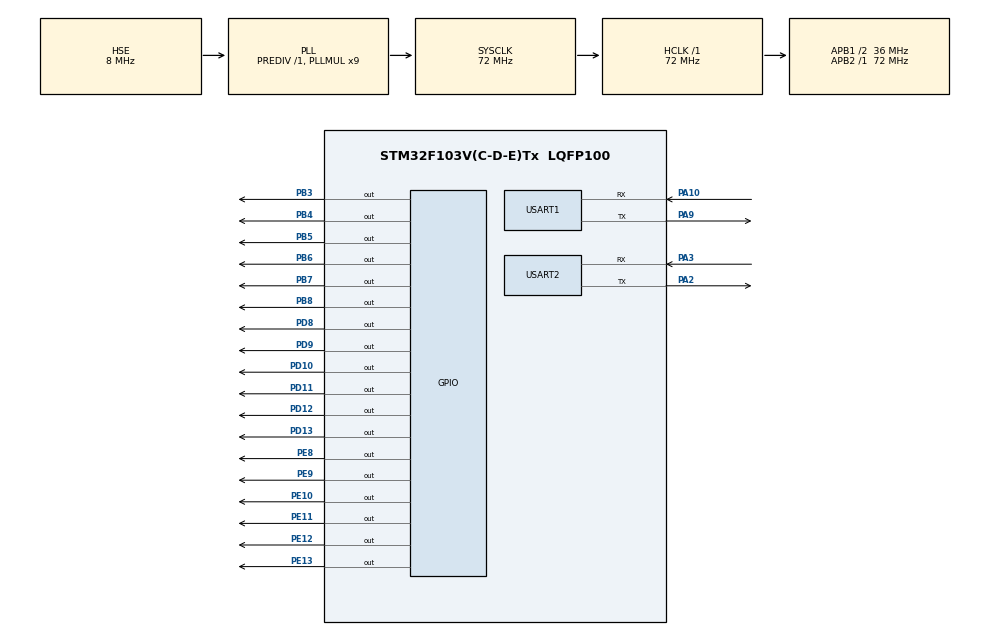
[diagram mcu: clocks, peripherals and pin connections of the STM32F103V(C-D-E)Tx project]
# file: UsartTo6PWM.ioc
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Mcu.Family=STM32F1
Mcu.Name=STM32F103V(C-D-E)Tx
Mcu.Package=LQFP100
NVIC.PriorityGroup=NVIC_PRIORITYGROUP_4
NVIC.USART1_IRQn=true\:0\:0\:false\:false\:true\:true
NVIC.USART2_IRQn=true\:0\:0\:false\:false\:true\:true
OSC_IN.Mode=HSE-External-Oscillator
OSC_IN.Signal=RCC_OSC_IN
OSC_OUT.Mode=HSE-External-Oscillator
OSC_OUT.Signal=RCC_OSC_OUT
PA10.Mode=Asynchronous
PA10.Signal=USART1_RX
PA13.Mode=Serial_Wire
PA13.Signal=SYS_JTMS-SWDIO
PA14.Mode=Serial_Wire
PA14.Signal=SYS_JTCK-SWCLK
PA2.Mode=Asynchronous
PA2.Signal=USART2_TX
PA3.Mode=Asynchronous
PA3.Signal=USART2_RX
PA9.Mode=Asynchronous
PA9.Signal=USART1_TX
PB3.GPIO_Speed=GPIO_SPEED_FREQ_HIGH
PB3.Signal=GPIO_Output
PB4.GPIO_Speed=GPIO_SPEED_FREQ_HIGH
PB4.Signal=GPIO_Output
PB5.GPIO_Speed=GPIO_SPEED_FREQ_HIGH
PB5.Signal=GPIO_Output
PB6.GPIO_Speed=GPIO_SPEED_FREQ_HIGH
PB6.Signal=GPIO_Output
PB7.GPIO_Speed=GPIO_SPEED_FREQ_HIGH
PB7.Signal=GPIO_Output
PB8.GPIO_Speed=GPIO_SPEED_FREQ_HIGH
PB8.Signal=GPIO_Output
PD10.GPIO_Speed=GPIO_SPEED_FREQ_HIGH
PD10.Signal=GPIO_Output
PD11.GPIO_Speed=GPIO_SPEED_FREQ_HIGH
PD11.Signal=GPIO_Output
PD12.GPIO_Speed=GPIO_SPEED_FREQ_HIGH
PD12.Signal=GPIO_Output
PD13.GPIO_Speed=GPIO_SPEED_FREQ_HIGH
PD13.Signal=GPIO_Output
PD8.GPIO_Speed=GPIO_SPEED_FREQ_HIGH
PD8.Signal=GPIO_Output
PD9.GPIO_Speed=GPIO_SPEED_FREQ_HIGH
PD9.Signal=GPIO_Output
PE10.GPIO_Speed=GPIO_SPEED_FREQ_HIGH
PE10.Signal=GPIO_Output
PE11.GPIO_Speed=GPIO_SPEED_FREQ_HIGH
PE11.Signal=GPIO_Output
PE12.GPIO_Speed=GPIO_SPEED_FREQ_HIGH
PE12.Signal=GPIO_Output
PE13.GPIO_Speed=GPIO_SPEED_FREQ_HIGH
PE13.Signal=GPIO_Output
PE8.GPIO_Speed=GPIO_SPEED_FREQ_HIGH
PE8.Signal=GPIO_Output
PE9.GPIO_Speed=GPIO_SPEED_FREQ_HIGH
PE9.Signal=GPIO_Output
ProjectManager.HeapSize=0x200
ProjectManager.StackSize=0x400
ProjectManager.TargetToolchain=SW4STM32
RCC.AHBFreq_Value=72000000
RCC.APB1CLKDivider=RCC_HCLK_DIV2
RCC.APB1Freq_Value=36000000
RCC.APB1TimFreq_Value=72000000
RCC.APB2Freq_Value=72000000
RCC.APB2TimFreq_Value=72000000
RCC.HCLKFreq_Value=72000000
RCC.PLLMUL=RCC_PLL_MUL9
RCC.PLLSourceVirtual=RCC_PLLSOURCE_HSE
RCC.SYSCLKFreq_VALUE=72000000
RCC.SYSCLKSource=RCC_SYSCLKSOURCE_PLLCLK
RCC.USBFreq_Value=72000000
USART1.VirtualMode=VM_ASYNC
USART2.VirtualMode=VM_ASYNC
board=UsartTo6PWM

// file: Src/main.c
/**
 ******************************************************************************
 * @file           : main.c
 * @brief          : Main program body
 ******************************************************************************
 ** This notice applies to any and all portions of this file
 * that are not between comment pairs USER CODE BEGIN and
 * USER CODE END. Other portions of this file, whether
 * inserted by the user or by software development tools
 * are owned by their respective copyright owners.
 *
 * COPYRIGHT(c) 2018 STMicroelectronics
 *
 * Redistribution and use in source and binary forms, with or without modification,
 * are permitted provided that the following conditions are met:
 *   1. Redistributions of source code must retain the above copyright notice,
 *      this list of conditions and the following disclaimer.
 *   2. Redistributions in binary form must reproduce the above copyright notice,
 *      this list of conditions and the following disclaimer in the documentation
 *      and/or other materials provided with the distribution.
 *   3. Neither the name of STMicroelectronics nor the names of its contributors
 *      may be used to endorse or promote products derived from this software
 *      without specific prior written permission.
 *
 * THIS SOFTWARE IS PROVIDED BY THE COPYRIGHT HOLDERS AND CONTRIBUTORS "AS IS"
 * AND ANY EXPRESS OR IMPLIED WARRANTIES, INCLUDING, BUT NOT LIMITED TO, THE
 * IMPLIED WARRANTIES OF MERCHANTABILITY AND FITNESS FOR A PARTICULAR PURPOSE ARE
 * DISCLAIMED. IN NO EVENT SHALL THE COPYRIGHT HOLDER OR CONTRIBUTORS BE LIABLE
 * FOR ANY DIRECT, INDIRECT, INCIDENTAL, SPECIAL, EXEMPLARY, OR CONSEQUENTIAL
 * DAMAGES (INCLUDING, BUT NOT LIMITED TO, PROCUREMENT OF SUBSTITUTE GOODS OR
 * SERVICES; LOSS OF USE, DATA, OR PROFITS; OR BUSINESS INTERRUPTION) HOWEVER
 * CAUSED AND ON ANY THEORY OF LIABILITY, WHETHER IN CONTRACT, STRICT LIABILITY,
 * OR TORT (INCLUDING NEGLIGENCE OR OTHERWISE) ARISING IN ANY WAY OUT OF THE USE
 * OF THIS SOFTWARE, EVEN IF ADVISED OF THE POSSIBILITY OF SUCH DAMAGE.
 *
 ******************************************************************************
 */
#include "main.h"
#include "stm32f1xx_hal.h"
#include "usart.h"
#include "gpio.h"

/* USER CODE BEGIN Includes */
#include <string.h>
/* USER CODE END Includes */

/* USER CODE BEGIN PV */
/* Private variables ---------------------------------------------------------*/
/* 定义6路GPIO模拟PWM输出 */
/* 顺序对应STM32_IO板QB1-QB18 */
//#define PWM1_DIR(x)  (x == 1 ? HAL_GPIO_WritePin(GPIOC, GPIO_PIN_6, GPIO_PIN_SET) : HAL_GPIO_WritePin(GPIOC, GPIO_PIN_6, GPIO_PIN_RESET))
//#define PWM1_EN(x)  (x == 1 ? HAL_GPIO_WritePin(GPIOD, GPIO_PIN_15, GPIO_PIN_SET) : HAL_GPIO_WritePin(GPIOD, GPIO_PIN_15, GPIO_PIN_RESET))
//#define PWM1_OUT(x)  (x == 1 ? HAL_GPIO_WritePin(GPIOD, GPIO_PIN_14, GPIO_PIN_RESET) : HAL_GPIO_WritePin(GPIOD, GPIO_PIN_14, GPIO_PIN_SET))
#define PWM1_DIR(x)  if(x == 1)HAL_GPIO_WritePin(GPIOC, GPIO_PIN_6, GPIO_PIN_SET) ; else HAL_GPIO_WritePin(GPIOC, GPIO_PIN_6, GPIO_PIN_RESET)
#define PWM1_EN(x)  if(x == 1)HAL_GPIO_WritePin(GPIOD, GPIO_PIN_15, GPIO_PIN_SET) ; else HAL_GPIO_WritePin(GPIOD, GPIO_PIN_15, GPIO_PIN_RESET)
#define PWM1_OUT(x)  if(x == 1)HAL_GPIO_WritePin(GPIOD, GPIO_PIN_14, GPIO_PIN_RESET) ; else HAL_GPIO_WritePin(GPIOD, GPIO_PIN_14, GPIO_PIN_SET)

//#define PWM2_DIR(x)  (x == 1 ? HAL_GPIO_WritePin(GPIOD, GPIO_PIN_13, GPIO_PIN_SET) : HAL_GPIO_WritePin(GPIOD, GPIO_PIN_13, GPIO_PIN_RESET))
//#define PWM2_EN(x)  (x == 1 ? HAL_GPIO_WritePin(GPIOD, GPIO_PIN_12, GPIO_PIN_SET) : HAL_GPIO_WritePin(GPIOD, GPIO_PIN_12, GPIO_PIN_RESET))
//#define PWM2_OUT(x)  (x == 1 ? HAL_GPIO_WritePin(GPIOD, GPIO_PIN_11, GPIO_PIN_RESET) : HAL_GPIO_WritePin(GPIOD, GPIO_PIN_11, GPIO_PIN_SET))

#define PWM2_DIR(x)  if(x == 1)HAL_GPIO_WritePin(GPIOD, GPIO_PIN_13, GPIO_PIN_SET) ; else HAL_GPIO_WritePin(GPIOD, GPIO_PIN_13, GPIO_PIN_RESET)
#define PWM2_EN(x)  if(x == 1)HAL_GPIO_WritePin(GPIOD, GPIO_PIN_12, GPIO_PIN_SET) ; else HAL_GPIO_WritePin(GPIOD, GPIO_PIN_12, GPIO_PIN_RESET)
#define PWM2_OUT(x)  if(x == 1)HAL_GPIO_WritePin(GPIOD, GPIO_PIN_11, GPIO_PIN_RESET) ; else HAL_GPIO_WritePin(GPIOD, GPIO_PIN_11, GPIO_PIN_SET)

//#define PWM3_DIR(x)  (x == 1 ? HAL_GPIO_WritePin(GPIOD, GPIO_PIN_10, GPIO_PIN_SET) : HAL_GPIO_WritePin(GPIOD, GPIO_PIN_10, GPIO_PIN_RESET))
//#define PWM3_EN(x)  (x == 1 ? HAL_GPIO_WritePin(GPIOD, GPIO_PIN_9, GPIO_PIN_SET) : HAL_GPIO_WritePin(GPIOD, GPIO_PIN_9, GPIO_PIN_RESET))
//#define PWM3_OUT(x)  (x == 1 ? HAL_GPIO_WritePin(GPIOD, GPIO_PIN_8, GPIO_PIN_RESET) : HAL_GPIO_WritePin(GPIOD, GPIO_PIN_8, GPIO_PIN_SET))

#define PWM3_DIR(x)  if(x == 1)HAL_GPIO_WritePin(GPIOD, GPIO_PIN_10, GPIO_PIN_SET) ; else HAL_GPIO_WritePin(GPIOD, GPIO_PIN_10, GPIO_PIN_RESET)
#define PWM3_EN(x)  if(x == 1)HAL_GPIO_WritePin(GPIOD, GPIO_PIN_9, GPIO_PIN_SET) ; else HAL_GPIO_WritePin(GPIOD, GPIO_PIN_9, GPIO_PIN_RESET)
#define PWM3_OUT(x)  if(x == 1)HAL_GPIO_WritePin(GPIOD, GPIO_PIN_8, GPIO_PIN_RESET) ; else HAL_GPIO_WritePin(GPIOD, GPIO_PIN_8, GPIO_PIN_SET)

#define PWM4_DIR(x)  (x == 1 ? HAL_GPIO_WritePin(GPIOE, GPIO_PIN_15, GPIO_PIN_SET) : HAL_GPIO_WritePin(GPIOE, GPIO_PIN_15, GPIO_PIN_RESET))
#define PWM4_EN(x)  (x == 1 ? HAL_GPIO_WritePin(GPIOE, GPIO_PIN_14, GPIO_PIN_SET) : HAL_GPIO_WritePin(GPIOE, GPIO_PIN_14, GPIO_PIN_RESET))
#define PWM4_OUT(x)  (x == 1 ? HAL_GPIO_WritePin(GPIOE, GPIO_PIN_13, GPIO_PIN_RESET) : HAL_GPIO_WritePin(GPIOE, GPIO_PIN_13, GPIO_PIN_SET))

#define PWM5_DIR(x)  (x == 1 ? HAL_GPIO_WritePin(GPIOE, GPIO_PIN_12, GPIO_PIN_SET) : HAL_GPIO_WritePin(GPIOE, GPIO_PIN_12, GPIO_PIN_RESET))
#define PWM5_EN(x)  (x == 1 ? HAL_GPIO_WritePin(GPIOE, GPIO_PIN_11, GPIO_PIN_SET) : HAL_GPIO_WritePin(GPIOE, GPIO_PIN_11, GPIO_PIN_RESET))
#define PWM5_OUT(x)  (x == 1 ? HAL_GPIO_WritePin(GPIOE, GPIO_PIN_10, GPIO_PIN_RESET) : HAL_GPIO_WritePin(GPIOE, GPIO_PIN_10, GPIO_PIN_SET))

#define PWM6_DIR(x)  (x == 1 ? HAL_GPIO_WritePin(GPIOE, GPIO_PIN_9, GPIO_PIN_SET) : HAL_GPIO_WritePin(GPIOE, GPIO_PIN_9, GPIO_PIN_RESET))
#define PWM6_EN(x)  (x == 1 ? HAL_GPIO_WritePin(GPIOE, GPIO_PIN_8, GPIO_PIN_SET) : HAL_GPIO_WritePin(GPIOE, GPIO_PIN_8, GPIO_PIN_RESET))
#define PWM6_OUT(x)  (x == 1 ? HAL_GPIO_WritePin(GPIOE, GPIO_PIN_7, GPIO_PIN_RESET) : HAL_GPIO_WritePin(GPIOE, GPIO_PIN_7, GPIO_PIN_SET))

//#define TransferLED1_OUT(x)  (x == 1 ? HAL_GPIO_WritePin(GPIOB, GPIO_PIN_6, GPIO_PIN_SET) : HAL_GPIO_WritePin(GPIOB, GPIO_PIN_6, GPIO_PIN_RESET))
//#define TransferLED2_OUT(x)  (x == 1 ? HAL_GPIO_WritePin(GPIOB, GPIO_PIN_4, GPIO_PIN_SET) : HAL_GPIO_WritePin(GPIOB, GPIO_PIN_4, GPIO_PIN_RESET))
//#define TransferLED3_OUT(x)  (x == 1 ? HAL_GPIO_WritePin(GPIOD, GPIO_PIN_7, GPIO_PIN_SET) : HAL_GPIO_WritePin(GPIOD, GPIO_PIN_7, GPIO_PIN_RESET))
//#define TransferLED4_OUT(x)  (x == 1 ? HAL_GPIO_WritePin(GPIOD, GPIO_PIN_5, GPIO_PIN_SET) : HAL_GPIO_WritePin(GPIOD, GPIO_PIN_5, GPIO_PIN_RESET))
//#define TransferLED5_OUT(x)  (x == 1 ? HAL_GPIO_WritePin(GPIOD, GPIO_PIN_3, GPIO_PIN_SET) : HAL_GPIO_WritePin(GPIOD, GPIO_PIN_3, GPIO_PIN_RESET))
//#define TransferLED6_OUT(x)  (x == 1 ? HAL_GPIO_WritePin(GPIOD, GPIO_PIN_1, GPIO_PIN_SET) : HAL_GPIO_WritePin(GPIOD, GPIO_PIN_1, GPIO_PIN_RESET))
#define limitYMin HAL_GPIO_ReadPin(GPIOB, GPIO_PIN_3)
#define limitYMax HAL_GPIO_ReadPin(GPIOB, GPIO_PIN_5)
#define limitZMin HAL_GPIO_ReadPin(GPIOB, GPIO_PIN_4)
#define limitZMax HAL_GPIO_ReadPin(GPIOB, GPIO_PIN_6)

#define TransferRELAY1_OUT(x)  (x == 1 ? HAL_GPIO_WritePin(GPIOC, GPIO_PIN_7, GPIO_PIN_SET) : HAL_GPIO_WritePin(GPIOC, GPIO_PIN_7, GPIO_PIN_RESET))
/* 最大命令数 */
#define MAX_CMD_SIZE 5000

/* 状态-工作 */
#define WORKING 2
/* 状态-回零 */
#define FINDZERO 3
/* 状态-手动 */
#define MANUAL 1
/* 状态-手动 */
#define EMCSTOP 0

/* 当前工作状态 */
uint8_t currentStatus = 1;
/* 上一工作状态 */
uint8_t lastStatus = 1;
/* 串口接收缓存 */
uint8_t RxBuffer[12];
/* 急停发送缓存 */
uint8_t EMCSTOPBuffer[12] = { 0x00, 0x00, 0x00, 0x00, 0x00, 0x00, 0x00, 0x00,
		0x00, 0x00, 0x00, 0x00 };
/* 命令缓存 */
uint8_t CMDBuffer[MAX_CMD_SIZE][10];
/* 已接收的命令数 */
uint32_t CMDRevNum = 0;
/* 当前命令位置 */
uint32_t CMDRunNum = 0;

// CRC 高位位字节值表
static uint8_t auchCRCHi[] = { 0x00, 0xC1, 0x81, 0x40, 0x01, 0xC0, 0x80, 0x41,
		0x01, 0xC0, 0x80, 0x41, 0x00, 0xC1, 0x81, 0x40, 0x01, 0xC0, 0x80, 0x41,
		0x00, 0xC1, 0x81, 0x40, 0x00, 0xC1, 0x81, 0x40, 0x01, 0xC0, 0x80, 0x41,
		0x01, 0xC0, 0x80, 0x41, 0x00, 0xC1, 0x81, 0x40, 0x00, 0xC1, 0x81, 0x40,
		0x01, 0xC0, 0x80, 0x41, 0x00, 0xC1, 0x81, 0x40, 0x01, 0xC0, 0x80, 0x41,
		0x01, 0xC0, 0x80, 0x41, 0x00, 0xC1, 0x81, 0x40, 0x01, 0xC0, 0x80, 0x41,
		0x00, 0xC1, 0x81, 0x40, 0x00, 0xC1, 0x81, 0x40, 0x01, 0xC0, 0x80, 0x41,
		0x00, 0xC1, 0x81, 0x40, 0x01, 0xC0, 0x80, 0x41, 0x01, 0xC0, 0x80, 0x41,
		0x00, 0xC1, 0x81, 0x40, 0x00, 0xC1, 0x81, 0x40, 0x01, 0xC0, 0x80, 0x41,
		0x01, 0xC0, 0x80, 0x41, 0x00, 0xC1, 0x81, 0x40, 0x01, 0xC0, 0x80, 0x41,
		0x00, 0xC1, 0x81, 0x40, 0x00, 0xC1, 0x81, 0x40, 0x01, 0xC0, 0x80, 0x41,
		0x01, 0xC0, 0x80, 0x41, 0x00, 0xC1, 0x81, 0x40, 0x00, 0xC1, 0x81, 0x40,
		0x01, 0xC0, 0x80, 0x41, 0x00, 0xC1, 0x81, 0x40, 0x01, 0xC0, 0x80, 0x41,
		0x01, 0xC0, 0x80, 0x41, 0x00, 0xC1, 0x81, 0x40, 0x00, 0xC1, 0x81, 0x40,
		0x01, 0xC0, 0x80, 0x41, 0x01, 0xC0, 0x80, 0x41, 0x00, 0xC1, 0x81, 0x40,
		0x01, 0xC0, 0x80, 0x41, 0x00, 0xC1, 0x81, 0x40, 0x00, 0xC1, 0x81, 0x40,
		0x01, 0xC0, 0x80, 0x41, 0x00, 0xC1, 0x81, 0x40, 0x01, 0xC0, 0x80, 0x41,
		0x01, 0xC0, 0x80, 0x41, 0x00, 0xC1, 0x81, 0x40, 0x01, 0xC0, 0x80, 0x41,
		0x00, 0xC1, 0x81, 0x40, 0x00, 0xC1, 0x81, 0x40, 0x01, 0xC0, 0x80, 0x41,
		0x01, 0xC0, 0x80, 0x41, 0x00, 0xC1, 0x81, 0x40, 0x00, 0xC1, 0x81, 0x40,
		0x01, 0xC0, 0x80, 0x41, 0x00, 0xC1, 0x81, 0x40, 0x01, 0xC0, 0x80, 0x41,
		0x01, 0xC0, 0x80, 0x41, 0x00, 0xC1, 0x81, 0x40 };
// CRC 低位字节值表
static uint8_t auchCRCLo[] = { 0x00, 0xC0, 0xC1, 0x01, 0xC3, 0x03, 0x02, 0xC2,
		0xC6, 0x06, 0x07, 0xC7, 0x05, 0xC5, 0xC4, 0x04, 0xCC, 0x0C, 0x0D, 0xCD,
		0x0F, 0xCF, 0xCE, 0x0E, 0x0A, 0xCA, 0xCB, 0x0B, 0xC9, 0x09, 0x08, 0xC8,
		0xD8, 0x18, 0x19, 0xD9, 0x1B, 0xDB, 0xDA, 0x1A, 0x1E, 0xDE, 0xDF, 0x1F,
		0xDD, 0x1D, 0x1C, 0xDC, 0x14, 0xD4, 0xD5, 0x15, 0xD7, 0x17, 0x16, 0xD6,
		0xD2, 0x12, 0x13, 0xD3, 0x11, 0xD1, 0xD0, 0x10, 0xF0, 0x30, 0x31, 0xF1,
		0x33, 0xF3, 0xF2, 0x32, 0x36, 0xF6, 0xF7, 0x37, 0xF5, 0x35, 0x34, 0xF4,
		0x3C, 0xFC, 0xFD, 0x3D, 0xFF, 0x3F, 0x3E, 0xFE, 0xFA, 0x3A, 0x3B, 0xFB,
		0x39, 0xF9, 0xF8, 0x38, 0x28, 0xE8, 0xE9, 0x29, 0xEB, 0x2B, 0x2A, 0xEA,
		0xEE, 0x2E, 0x2F, 0xEF, 0x2D, 0xED, 0xEC, 0x2C, 0xE4, 0x24, 0x25, 0xE5,
		0x27, 0xE7, 0xE6, 0x26, 0x22, 0xE2, 0xE3, 0x23, 0xE1, 0x21, 0x20, 0xE0,
		0xA0, 0x60, 0x61, 0xA1, 0x63, 0xA3, 0xA2, 0x62, 0x66, 0xA6, 0xA7, 0x67,
		0xA5, 0x65, 0x64, 0xA4, 0x6C, 0xAC, 0xAD, 0x6D, 0xAF, 0x6F, 0x6E, 0xAE,
		0xAA, 0x6A, 0x6B, 0xAB, 0x69, 0xA9, 0xA8, 0x68, 0x78, 0xB8, 0xB9, 0x79,
		0xBB, 0x7B, 0x7A, 0xBA, 0xBE, 0x7E, 0x7F, 0xBF, 0x7D, 0xBD, 0xBC, 0x7C,
		0xB4, 0x74, 0x75, 0xB5, 0x77, 0xB7, 0xB6, 0x76, 0x72, 0xB2, 0xB3, 0x73,
		0xB1, 0x71, 0x70, 0xB0, 0x50, 0x90, 0x91, 0x51, 0x93, 0x53, 0x52, 0x92,
		0x96, 0x56, 0x57, 0x97, 0x55, 0x95, 0x94, 0x54, 0x9C, 0x5C, 0x5D, 0x9D,
		0x5F, 0x9F, 0x9E, 0x5E, 0x5A, 0x9A, 0x9B, 0x5B, 0x99, 0x59, 0x58, 0x98,
		0x88, 0x48, 0x49, 0x89, 0x4B, 0x8B, 0x8A, 0x4A, 0x4E, 0x8E, 0x8F, 0x4F,
		0x8D, 0x4D, 0x4C, 0x8C, 0x44, 0x84, 0x85, 0x45, 0x87, 0x47, 0x46, 0x86,
		0x82, 0x42, 0x43, 0x83, 0x41, 0x81, 0x80, 0x40 };
//步进电机S曲线加速查表法
//42低速
//static uint32_t period_LO[202] = { 8438, 8387, 8384, 8381, 8379, 8376, 8372,
//		8369, 8366, 8362, 8358, 8354, 8350, 8345, 8341, 8336, 8331, 8325, 8320,
//		8314, 8307, 8301, 8294, 8287, 8279, 8271, 8263, 8254, 8245, 8236, 8225,
//		8215, 8204, 8192, 8180, 8167, 8154, 8140, 8125, 8110, 8094, 8077, 8060,
//		8041, 8022, 8002, 7981, 7959, 7936, 7912, 7888, 7861, 7834, 7806, 7776,
//		7746, 7713, 7680, 7645, 7609, 7571, 7532, 7492, 7449, 7406, 7360, 7313,
//		7265, 7214, 7162, 7108, 7052, 6995, 6935, 6874, 6811, 6746, 6680, 6611,
//		6541, 6469, 6395, 6320, 6243, 6164, 6083, 6001, 5918, 5833, 5747, 5659,
//		5571, 5481, 5390, 5298, 5206, 5113, 5019, 4925, 4830, 4736, 4641, 4546,
//		4451, 4356, 4262, 4168, 4075, 3983, 3891, 3800, 3711, 3622, 3535, 3448,
//		3363, 3280, 3198, 3118, 3039, 2962, 2886, 2812, 2740, 2670, 2602, 2535,
//		2470, 2407, 2346, 2287, 2229, 2173, 2119, 2067, 2017, 1968, 1921, 1876,
//		1832, 1790, 1749, 1710, 1672, 1636, 1601, 1568, 1536, 1505, 1475, 1447,
//		1420, 1394, 1369, 1345, 1322, 1300, 1279, 1259, 1240, 1221, 1204, 1187,
//		1171, 1156, 1141, 1127, 1114, 1101, 1089, 1077, 1066, 1056, 1046, 1036,
//		1027, 1018, 1010, 1002, 994, 987, 980, 974, 968, 962, 956, 951, 945,
//		941, 936, 931, 927, 923, 919, 916, 912, 909, 906, 903, 900, 897, 895 };
//57低速
static uint32_t period_LO[202] = { 8438, 8390, 8388, 8386, 8383, 8380, 8377,
		8374, 8371, 8368, 8364, 8360, 8356, 8352, 8348, 8343, 8339, 8334, 8328,
		8323, 8317, 8311, 8305, 8298, 8291, 8284, 8276, 8268, 8259, 8250, 8241,
		8231, 8221, 8210, 8199, 8187, 8175, 8162, 8149, 8134, 8120, 8104, 8088,
		8071, 8053, 8034, 8015, 7995, 7974, 7951, 7928, 7904, 7879, 7853, 7825,
		7797, 7767, 7736, 7704, 7670, 7636, 7599, 7562, 7523, 7482, 7440, 7397,
		7351, 7305, 7256, 7206, 7155, 7102, 7047, 6990, 6932, 6872, 6810, 6747,
		6682, 6615, 6547, 6477, 6405, 6332, 6258, 6182, 6104, 6026, 5946, 5865,
		5783, 5700, 5616, 5531, 5445, 5359, 5272, 5185, 5098, 5010, 4922, 4834,
		4746, 4659, 4571, 4485, 4398, 4313, 4228, 4144, 4061, 3979, 3898, 3818,
		3739, 3662, 3586, 3512, 3439, 3367, 3297, 3229, 3162, 3097, 3034, 2972,
		2912, 2854, 2797, 2742, 2689, 2637, 2587, 2539, 2492, 2447, 2404, 2362,
		2321, 2282, 2244, 2208, 2173, 2140, 2108, 2077, 2047, 2018, 1991, 1965,
		1940, 1915, 1892, 1870, 1849, 1829, 1809, 1791, 1773, 1756, 1740, 1724,
		1709, 1695, 1682, 1669, 1656, 1645, 1633, 1623, 1612, 1603, 1593, 1584,
		1576, 1568, 1560, 1553, 1546, 1539, 1533, 1527, 1521, 1515, 1510, 1505,
		1500, 1496, 1492, 1487, 1484, 1480, 1476, 1473, 1470, 1467, 1464, 1461,
		1458, 1456, 1453 };
//42高速
//static uint32_t period_HI[202] = { 8438, 8387, 8384, 8381, 8379, 8376, 8372,
//		8369, 8366, 8362, 8358, 8354, 8350, 8345, 8341, 8336, 8331, 8325, 8320,
//		8314, 8307, 8301, 8294, 8287, 8279, 8271, 8263, 8254, 8245, 8236, 8225,
//		8215, 8204, 8192, 8180, 8167, 8154, 8140, 8125, 8110, 8094, 8077, 8060,
//		8041, 8022, 8002, 7981, 7959, 7936, 7912, 7888, 7861, 7834, 7806, 7776,
//		7746, 7713, 7680, 7645, 7609, 7571, 7532, 7492, 7449, 7406, 7360, 7313,
//		7265, 7214, 7162, 7108, 7052, 6995, 6935, 6874, 6811, 6746, 6680, 6611,
//		6541, 6469, 6395, 6320, 6243, 6164, 6083, 6001, 5918, 5833, 5747, 5659,
//		5571, 5481, 5390, 5298, 5206, 5113, 5019, 4925, 4830, 4736, 4641, 4546,
//		4451, 4356, 4262, 4168, 4075, 3983, 3891, 3800, 3711, 3622, 3535, 3448,
//		3363, 3280, 3198, 3118, 3039, 2962, 2886, 2812, 2740, 2670, 2602, 2535,
//		2470, 2407, 2346, 2287, 2229, 2173, 2119, 2067, 2017, 1968, 1921, 1876,
//		1832, 1790, 1749, 1710, 1672, 1636, 1601, 1568, 1536, 1505, 1475, 1447,
//		1420, 1394, 1369, 1345, 1322, 1300, 1279, 1259, 1240, 1221, 1204, 1187,
//		1171, 1156, 1141, 1127, 1114, 1101, 1089, 1077, 1066, 1056, 1046, 1036,
//		1027, 1018, 1010, 1002, 994, 987, 980, 974, 968, 962, 956, 951, 945,
//		941, 936, 931, 927, 923, 919, 916, 912, 909, 906, 903, 900, 897, 895 };
//57高速
static uint32_t period_HI[202] = { 8438, 8383, 8380, 8377, 8374, 8371, 8368,
		8364, 8360, 8356, 8352, 8348, 8343, 8339, 8334, 8328, 8323, 8317, 8311,
		8305, 8298, 8291, 8283, 8276, 8268, 8259, 8250, 8241, 8231, 8221, 8210,
		8198, 8187, 8174, 8161, 8147, 8133, 8118, 8102, 8086, 8069, 8051, 8032,
		8012, 7992, 7970, 7947, 7924, 7899, 7874, 7847, 7819, 7790, 7759, 7727,
		7694, 7660, 7624, 7587, 7548, 7507, 7465, 7422, 7376, 7329, 7281, 7230,
		7178, 7123, 7067, 7009, 6950, 6888, 6824, 6758, 6691, 6621, 6550, 6476,
		6401, 6323, 6244, 6163, 6080, 5995, 5909, 5821, 5731, 5640, 5547, 5453,
		5358, 5262, 5164, 5066, 4967, 4867, 4766, 4665, 4563, 4461, 4359, 4257,
		4156, 4054, 3953, 3852, 3752, 3653, 3554, 3457, 3361, 3265, 3171, 3079,
		2988, 2898, 2810, 2723, 2639, 2556, 2475, 2396, 2318, 2243, 2169, 2098,
		2028, 1960, 1895, 1831, 1769, 1709, 1651, 1595, 1541, 1489, 1438, 1389,
		1342, 1297, 1253, 1211, 1171, 1132, 1095, 1059, 1024, 991, 960, 929,
		900, 872, 845, 819, 795, 771, 749, 727, 707, 687, 668, 650, 633, 616,
		601, 586, 571, 558, 545, 532, 520, 509, 498, 488, 478, 469, 460, 451,
		443, 435, 428, 421, 414, 408, 402, 396, 390, 385, 380, 375, 371, 367,
		362, 358, 355, 351, 348, 345, 342, 339, 336 };
//57高速
static uint32_t period_VERYHI[102] = { 223, 218, 213, 208, 203, 198, 193, 188,
		183, 178, 173, 168, 163, 159, 154, 149, 145, 140, 136, 132, 128, 124,
		120, 116, 112, 108, 105, 101, 98, 95, 92, 88, 85, 83, 80, 77, 74, 72,
		69, 67, 65, 63, 61, 59, 57, 55, 53, 51, 50, 48, 46, 45, 44, 42, 41, 40,
		39, 37, 36, 35, 34, 33, 33, 32, 31, 30, 29, 29, 28, 27, 27, 26, 25, 25,
		24, 24, 23, 23, 23, 22, 22, 21, 21, 21, 20, 20, 20, 20, 19, 19, 19, 19,
		18, 18, 18, 18, 18, 17, 17, 17, 17, 17 };
/* USER CODE END PV */

void
SystemClock_Config(void);

/* USER CODE BEGIN PFP */
/* Private function prototypes -----------------------------------------------*/
unsigned short
CRC16(uint8_t *puchMsg, unsigned short usDataLen);
void
CMDProcess(void);
void
HAL_UART_RxCpltCallback(UART_HandleTypeDef* uartHandle);
void
OutPWM1(uint32_t Step1, uint8_t Dir1, uint32_t Step2, uint8_t Dir2,
		uint32_t Step3, uint8_t Dir3);
//void
//OutPWM2(uint32_t Step, uint8_t Dir);
//void
//OutPWM3(uint32_t Step, uint8_t Dir);
void
OutPWM4(uint32_t Step, uint8_t Dir);
void
OutPWM5(uint32_t Step, uint8_t Dir);
void
OutPWM6(uint32_t Step, uint8_t Dir);
/* USER CODE END PFP */

int main(void) {

	/* MCU Configuration----------------------------------------------------------*/

	/* Reset of all peripherals, Initializes the Flash interface and the Systick. */
	HAL_Init();

	/* Configure the system clock */
	SystemClock_Config();

	/* Initialize all configured peripherals */
	MX_GPIO_Init();
	MX_USART1_UART_Init();
	MX_USART2_UART_Init();
	/* USER CODE BEGIN 2 */
	HAL_Delay(1000);
	PWM1_OUT(0);
	PWM2_OUT(0);
	PWM3_OUT(0);
	PWM4_OUT(0);
	PWM5_OUT(0);
	PWM6_OUT(0);

	/* 初始化串口接收 */
	HAL_UART_Receive_IT(&huart2, RxBuffer, 12);

	TransferRELAY1_OUT(0);

	/* USER CODE END 2 */

	/* Infinite loop */
	while (1) {

		/* USER CODE BEGIN 3 */
		/* 处理命令 */
		CMDProcess();
	}
	/* USER CODE END 3 */

}

void SystemClock_Config(void) {

	RCC_OscInitTypeDef RCC_OscInitStruct;
	RCC_ClkInitTypeDef RCC_ClkInitStruct;

	/**Initializes the CPU, AHB and APB busses clocks
	 */
	RCC_OscInitStruct.OscillatorType = RCC_OSCILLATORTYPE_HSE;
	RCC_OscInitStruct.HSEState = RCC_HSE_ON;
	RCC_OscInitStruct.HSEPredivValue = RCC_HSE_PREDIV_DIV1;
	RCC_OscInitStruct.HSIState = RCC_HSI_ON;
	RCC_OscInitStruct.PLL.PLLState = RCC_PLL_ON;
	RCC_OscInitStruct.PLL.PLLSource = RCC_PLLSOURCE_HSE;
	RCC_OscInitStruct.PLL.PLLMUL = RCC_PLL_MUL9;
	if (HAL_RCC_OscConfig(&RCC_OscInitStruct) != HAL_OK) {
		_Error_Handler(__FILE__, __LINE__);
	}

	/**Initializes the CPU, AHB and APB busses clocks
	 */
	RCC_ClkInitStruct.ClockType = RCC_CLOCKTYPE_HCLK | RCC_CLOCKTYPE_SYSCLK
			| RCC_CLOCKTYPE_PCLK1 | RCC_CLOCKTYPE_PCLK2;
	RCC_ClkInitStruct.SYSCLKSource = RCC_SYSCLKSOURCE_PLLCLK;
	RCC_ClkInitStruct.AHBCLKDivider = RCC_SYSCLK_DIV1;
	RCC_ClkInitStruct.APB1CLKDivider = RCC_HCLK_DIV2;
	RCC_ClkInitStruct.APB2CLKDivider = RCC_HCLK_DIV1;

	if (HAL_RCC_ClockConfig(&RCC_ClkInitStruct, FLASH_LATENCY_2) != HAL_OK) {
		_Error_Handler(__FILE__, __LINE__);
	}

	/**Configure the Systick interrupt time
	 */
	HAL_SYSTICK_Config(HAL_RCC_GetHCLKFreq() / 1000);

	/**Configure the Systick
	 */
	HAL_SYSTICK_CLKSourceConfig(SYSTICK_CLKSOURCE_HCLK);

	/* SysTick_IRQn interrupt configuration */
	HAL_NVIC_SetPriority(SysTick_IRQn, 0, 0);
}

/* USER CODE BEGIN 4 */
/* 6路PWM输出函数 */
/* 1-3路联动算法*/
void OutPWM1(uint32_t Step1, uint8_t Dir1, uint32_t Step2, uint8_t Dir2,
		uint32_t Step3, uint8_t Dir3) {
	uint32_t PWMHoldTime = period_VERYHI[0];
	uint32_t PWMHoldTime1 = 0, PWMHoldTime2 = 0, PWMHoldTime3 = 0;
	uint32_t OldStep = 0;
	uint32_t Step = 0;
	uint8_t stepFlag = 0;
	uint32_t step1 = Step1, step2 = Step2, step3 = Step3;
	/* 三轴速度比a,b,c */
	float a = 0, b = 0, c = 0;
	while (((step1 + step2 + step3) > 0) && (currentStatus != EMCSTOP)) {
		if (step1 >= step2) {
			if (step2 >= step3) {
				a = 1;
				if (step2 > 0) {
					b = step1 / step2;
				}
				if (step3 > 0) {
					c = step1 / step3;
				}
				stepFlag = 1;
			}
		}
		if (step1 <= step2) {
			if (step2 >= step3) {
				if (step1 > 0) {
					a = step2 / step1;
				}
				b = 1;
				if (step3 > 0) {
					c = step2 / step3;
				}
				stepFlag = 2;
			}
		}
		if (step1 <= step3) {
			if (step2 <= step3) {
				if (step1 > 0) {
					a = step3 / step1;
				}
				if (step2 > 0) {
					b = step3 / step2;
				}
				c = 1;
				stepFlag = 3;
			}
		}
		OldStep = step1;
		if (OldStep < step2) {
			OldStep = step2;
		}
		if (OldStep < step3) {
			OldStep = step3;
		}
		Step = OldStep;
		PWM1_DIR(Dir1);
		PWM2_DIR(Dir2);
		PWM3_DIR(Dir3);
		PWM1_EN(0);
		PWM2_EN(0);
		PWM3_EN(0);
		for (; Step > 0;) {
			if (limitZMax == 0 || limitZMin == 0 || limitYMin == 0
					|| limitYMax == 0) {
				if (limitZMax == 0 && Dir1 == 1 && step1 != 0) {
					//回发剩余步数
					unsigned short CRCCal;
					//83回发步数命令号
					EMCSTOPBuffer[0] = 83;
					EMCSTOPBuffer[2] = step1 & 0x00FF;
					EMCSTOPBuffer[1] = (step1 >> 8) & 0x00FF;
					EMCSTOPBuffer[3] = Dir1;
					EMCSTOPBuffer[5] = step2 & 0x00FF;
					EMCSTOPBuffer[4] = (step2 >> 8) & 0x00FF;
					EMCSTOPBuffer[6] = Dir2;
					EMCSTOPBuffer[7] = 0;
					EMCSTOPBuffer[8] = 0;
					EMCSTOPBuffer[9] = 0;
					CRCCal = CRC16(&EMCSTOPBuffer[0], 10);
					EMCSTOPBuffer[10] = (CRCCal & 0xFF00) >> 8;
					EMCSTOPBuffer[11] = (CRCCal & 0xFF);
					HAL_UART_Transmit(&huart2, EMCSTOPBuffer, 12, 0x000F);
					HAL_Delay(100);
					step1 = 0;
					if (currentStatus == WORKING) {
						lastStatus = currentStatus;
						currentStatus = EMCSTOP;
						EMCSTOPBuffer[0] = 91;
					}
					break;
				}
				if (limitZMin == 0 && Dir1 == 0 && step1 != 0) {
					//回发剩余步数
					unsigned short CRCCal;
					//83回发步数命令号
					EMCSTOPBuffer[0] = 83;
					EMCSTOPBuffer[2] = step1 & 0x00FF;
					EMCSTOPBuffer[1] = (step1 >> 8) & 0x00FF;
					EMCSTOPBuffer[3] = Dir1;
					EMCSTOPBuffer[5] = step2 & 0x00FF;
					EMCSTOPBuffer[4] = (step2 >> 8) & 0x00FF;
					EMCSTOPBuffer[6] = Dir2;
					EMCSTOPBuffer[7] = 0;
					EMCSTOPBuffer[8] = 0;
					EMCSTOPBuffer[9] = 0;
					CRCCal = CRC16(&EMCSTOPBuffer[0], 10);
					EMCSTOPBuffer[10] = (CRCCal & 0xFF00) >> 8;
					EMCSTOPBuffer[11] = (CRCCal & 0xFF);
					HAL_UART_Transmit(&huart2, EMCSTOPBuffer, 12, 0x000F);
					HAL_Delay(100);
					step1 = 0;
					if (currentStatus == WORKING) {
						lastStatus = currentStatus;
						currentStatus = EMCSTOP;
						EMCSTOPBuffer[0] = 92;
					}
					break;
				}
				if (limitYMin == 0 && Dir2 == 1 && step2 != 0) {
					//回发剩余步数
					unsigned short CRCCal;
					//83回发步数命令号
					EMCSTOPBuffer[0] = 83;
					EMCSTOPBuffer[2] = step1 & 0x00FF;
					EMCSTOPBuffer[1] = (step1 >> 8) & 0x00FF;
					EMCSTOPBuffer[3] = Dir1;
					EMCSTOPBuffer[5] = step2 & 0x00FF;
					EMCSTOPBuffer[4] = (step2 >> 8) & 0x00FF;
					EMCSTOPBuffer[6] = Dir2;
					EMCSTOPBuffer[7] = 0;
					EMCSTOPBuffer[8] = 0;
					EMCSTOPBuffer[9] = 0;
					CRCCal = CRC16(&EMCSTOPBuffer[0], 10);
					EMCSTOPBuffer[10] = (CRCCal & 0xFF00) >> 8;
					EMCSTOPBuffer[11] = (CRCCal & 0xFF);
					HAL_UART_Transmit(&huart2, EMCSTOPBuffer, 12, 0x000F);
					HAL_Delay(100);
					step2 = 0;
					if (currentStatus == WORKING) {
						lastStatus = currentStatus;
						currentStatus = EMCSTOP;
						EMCSTOPBuffer[0] = 93;
					}
					break;
				}
				if (limitYMax == 0 && Dir2 == 0 && step2 != 0) {
					//回发剩余步数
					unsigned short CRCCal;
					//83回发步数命令号
					EMCSTOPBuffer[0] = 83;
					EMCSTOPBuffer[2] = step1 & 0x00FF;
					EMCSTOPBuffer[1] = (step1 >> 8) & 0x00FF;
					EMCSTOPBuffer[3] = Dir1;
					EMCSTOPBuffer[5] = step2 & 0x00FF;
					EMCSTOPBuffer[4] = (step2 >> 8) & 0x00FF;
					EMCSTOPBuffer[6] = Dir2;
					EMCSTOPBuffer[7] = 0;
					EMCSTOPBuffer[8] = 0;
					EMCSTOPBuffer[9] = 0;
					CRCCal = CRC16(&EMCSTOPBuffer[0], 10);
					EMCSTOPBuffer[10] = (CRCCal & 0xFF00) >> 8;
					EMCSTOPBuffer[11] = (CRCCal & 0xFF);
					HAL_UART_Transmit(&huart2, EMCSTOPBuffer, 12, 0x000F);
					HAL_Delay(100);
					step2 = 0;
					if (currentStatus == WORKING) {
						lastStatus = currentStatus;
						currentStatus = EMCSTOP;
						EMCSTOPBuffer[0] = 94;
					}
					break;
				}
			}
			//S加速
			if ((OldStep - Step) < 100) {
				if (Step > (OldStep / 2)) {
					PWMHoldTime = period_VERYHI[OldStep - Step];
				}
			}
			//S减速
			if (Step <= 100) {
				if (Step < (OldStep / 2)) {
					PWMHoldTime = period_VERYHI[Step];
				}
			}

			PWMHoldTime1++;
			PWMHoldTime2++;
			PWMHoldTime3++;

			if (step1 > 0) {
				if (PWMHoldTime1 <= (PWMHoldTime * a - 5)) {
					PWM1_OUT(1);
				}
				if (PWMHoldTime1 > (PWMHoldTime * a - 5)) {
					PWM1_OUT(0);
					if (PWMHoldTime1 > (PWMHoldTime * a)) {
						PWMHoldTime1 = 0;
						step1--;
						if (stepFlag == 1) {
							Step--;
						}
					}
				}
			}
			if (step2 > 0) {
				if (PWMHoldTime2 <= (PWMHoldTime * b - 5)) {
					PWM2_OUT(1);
				}
				if (PWMHoldTime2 > (PWMHoldTime * b - 5)) {
					PWM2_OUT(0);
					if (PWMHoldTime2 > (PWMHoldTime * b)) {
						PWMHoldTime2 = 0;
						step2--;
						if (stepFlag == 2) {
							Step--;
						}
					}
				}
			}
			if (step3 > 0) {
				if (PWMHoldTime3 <= (PWMHoldTime * c - 5)) {
					PWM3_OUT(1);
				}
				if (PWMHoldTime3 > (PWMHoldTime * c - 5)) {
					PWM3_OUT(0);
					if (PWMHoldTime3 > (PWMHoldTime * c)) {
						PWMHoldTime3 = 0;
						step3--;
						if (stepFlag == 3) {
							Step--;
						}
					}
				}
			}
			if (currentStatus == EMCSTOP) {
				Step = 0;
				break;
			}
		}
	}
	PWM1_EN(1);
	PWM2_EN(1);
	PWM3_EN(1);
}
//void OutPWM2(uint32_t Step, uint8_t Dir) {
//	uint32_t PWMHoldTime = period_HI[0];
//	uint32_t OldStep = Step;
//	/* 脉宽时间临时计数 */
//	uint32_t iTime;
//	PWM2_DIR(Dir);
//	PWM2_EN(0);
//	for (; Step > 0; Step--) {
//		if (limitYMin == 0 && Dir == 1) {
//			Step = 0;
//			if (currentStatus == WORKING) {
//				lastStatus = currentStatus;
//				currentStatus = EMCSTOP;
//				EMCSTOPBuffer[0] = 93;
//			}
//			break;
//		}
//		if (limitYMax == 0 && Dir == 0) {
//			Step = 0;
//			if (currentStatus == WORKING) {
//				lastStatus = currentStatus;
//				currentStatus = EMCSTOP;
//				EMCSTOPBuffer[0] = 94;
//			}
//			break;
//		}
//		//S加速
//		if ((OldStep - Step) < 200 && (Step > (OldStep / 2))) {
//			PWMHoldTime = period_HI[OldStep - Step];
//		}
//		//S减速
//		if (Step <= 200 && (Step < (OldStep / 2))) {
//			PWMHoldTime = period_HI[Step];
//		}
//		PWM2_OUT(1);
//		for (iTime = 0; iTime < 5; iTime++)
//			;
//		PWM2_OUT(0);
//		for (iTime = 0; iTime < PWMHoldTime; iTime++)
//			;
//		if (currentStatus == EMCSTOP) {
//			break;
//			Step = 0;
//		}
//	}
//	PWM2_EN(1);
//}
///* 旋转伺服步进电机 */
//void OutPWM3(uint32_t Step, uint8_t Dir) {
//	uint32_t PWMHoldTime = period_HI[0];
//	uint32_t OldStep = Step;
//	/* 脉宽时间临时计数 */
//	uint32_t iTime;
//	PWM3_DIR(Dir);
//	PWM3_EN(0);
//	for (; Step > 0; Step--) {
//		//S加速
//		if ((OldStep - Step) < 100 && (Step > (OldStep / 2))) {
//			PWMHoldTime = period_HI[100 + OldStep - Step];
//		}
//		//S减速
//		if (Step <= 100 && (Step < (OldStep / 2))) {
//			PWMHoldTime = period_HI[100 + Step];
//		}
//		PWM3_OUT(1);
//		for (iTime = 0; iTime < 60; iTime++)
//			;
//		PWM3_OUT(0);
//		for (iTime = 0; iTime < PWMHoldTime; iTime++)
//			;
//		if (currentStatus == EMCSTOP) {
//			Step = 0;
//		}
//	}
//	PWM3_EN(1);
//}
void OutPWM4(uint32_t Step, uint8_t Dir) {
	uint32_t PWMHoldTime = period_LO[0];
	uint32_t OldStep = Step;
	/* 脉宽时间临时计数 */
	uint32_t iTime;
	PWM4_DIR(Dir);
	PWM4_EN(0);
	for (; Step > 0; Step--) {
		//S加速
		if ((OldStep - Step) < 200 && (Step > (OldStep / 2))) {
			PWMHoldTime = period_LO[OldStep - Step];
		}
		//S减速
		if (Step <= 200 && (Step < (OldStep / 2))) {
			PWMHoldTime = period_LO[Step];
		}
		PWM4_OUT(1);
		for (iTime = 0; iTime < 5; iTime++)
			;
		PWM4_OUT(0);
		for (iTime = 0; iTime < PWMHoldTime; iTime++)
			;
		if (currentStatus == EMCSTOP) {
			Step = 0;
		}
	}
	PWM4_EN(1);
}
void OutPWM5(uint32_t Step, uint8_t Dir) {
	uint32_t PWMHoldTime = period_HI[0];
	uint32_t OldStep = Step;
	/* 脉宽时间临时计数 */
	uint32_t iTime;
	PWM5_DIR(Dir);
	PWM5_EN(0);
	for (; Step > 0; Step--) {
		//S加速
		if ((OldStep - Step) < 200 && (Step > (OldStep / 2))) {
			PWMHoldTime = period_HI[OldStep - Step];
		}
		//S减速
		if (Step <= 200 && (Step < (OldStep / 2))) {
			PWMHoldTime = period_HI[Step];
		}
		PWM5_OUT(1);
		for (iTime = 0; iTime < 476; iTime++)
			;
		PWM5_OUT(0);
		for (iTime = 0; iTime < PWMHoldTime; iTime++)
			;
		if (currentStatus == EMCSTOP) {
			Step = 0;
		}
	}
	PWM5_EN(1);
	/* 测试伺服步进电机高速起停 */
//	PWM5_DIR(Dir);
//	PWM5_EN(0);
//	for (; Step > 0; Step--) {
//		PWM5_OUT(1);
//		for (iTime = 0; iTime < 476; iTime++)
//			;
//		PWM5_OUT(0);
//		for (iTime = 0; iTime < 476; iTime++)
//			;
//		if (currentStatus == EMCSTOP) {
//			Step = 0;
//		}
//	}
//	PWM5_EN(1);
}
void OutPWM6(uint32_t Step, uint8_t Dir) {
	uint32_t PWMHoldTime = period_LO[0];
	uint32_t OldStep = Step;
	/* 脉宽时间临时计数 */
	uint32_t iTime;
	PWM6_DIR(Dir);
	PWM6_EN(0);
	for (; Step > 0; Step--) {
		//S加速
		if ((OldStep - Step) < 200 && (Step > (OldStep / 2))) {
			PWMHoldTime = period_LO[OldStep - Step];
		}
		//S减速
		if (Step <= 200 && (Step < (OldStep / 2))) {
			PWMHoldTime = period_LO[Step];
		}
		PWM6_OUT(1);
		for (iTime = 0; iTime < 5; iTime++)
			;
		PWM6_OUT(0);
		for (iTime = 0; iTime < PWMHoldTime; iTime++)
			;
		if (currentStatus == EMCSTOP) {
			Step = 0;
		}
	}
	PWM6_EN(1);
}
/**
 * 函数功能: 命令处理函数
 * 输入参数: 无
 * 返 回 值: 无
 * 说    明: 无
 */
void CMDProcess(void) {
	if (currentStatus == EMCSTOP) {
		unsigned short CRCCal = CRC16(&EMCSTOPBuffer[0], 10);
		memset(CMDBuffer, 0, sizeof(CMDBuffer));
		CMDRevNum = 0;
		CMDRunNum = 0;
		lastStatus = currentStatus;
		currentStatus = MANUAL;
		EMCSTOPBuffer[10] = (CRCCal & 0xFF00) >> 8;
		EMCSTOPBuffer[11] = (CRCCal & 0xFF);
		HAL_UART_Transmit(&huart2, EMCSTOPBuffer, 12, 0x000F);
		EMCSTOPBuffer[0] = 0;
	}
	if (CMDBuffer[CMDRunNum][0] != 0) {
		switch (CMDBuffer[CMDRunNum][0]) {
		case 1:
			OutPWM1((CMDBuffer[CMDRunNum][1] << 8) + CMDBuffer[CMDRunNum][2],
					CMDBuffer[CMDRunNum][3],
					(CMDBuffer[CMDRunNum][4] << 8) + CMDBuffer[CMDRunNum][5],
					CMDBuffer[CMDRunNum][6],
					(CMDBuffer[CMDRunNum][7] << 8) + CMDBuffer[CMDRunNum][8],
					CMDBuffer[CMDRunNum][9]);
			break;
//		case 2:
//			OutPWM2((CMDBuffer[CMDRunNum][1] << 8) + CMDBuffer[CMDRunNum][2],
//					CMDBuffer[CMDRunNum][3]);
//			break;
//		case 3:
//			OutPWM3((CMDBuffer[CMDRunNum][1] << 8) + CMDBuffer[CMDRunNum][2],
//					CMDBuffer[CMDRunNum][3]);
//			break;
		case 4:
			OutPWM4((CMDBuffer[CMDRunNum][1] << 8) + CMDBuffer[CMDRunNum][2],
					CMDBuffer[CMDRunNum][3]);
			break;
		case 5:
			OutPWM5((CMDBuffer[CMDRunNum][1] << 8) + CMDBuffer[CMDRunNum][2],
					CMDBuffer[CMDRunNum][3]);
			break;
		case 6:
			OutPWM6((CMDBuffer[CMDRunNum][1] << 8) + CMDBuffer[CMDRunNum][2],
					CMDBuffer[CMDRunNum][3]);
			break;
		case 80:
			lastStatus = currentStatus;
			currentStatus = MANUAL;
			break;
		case 81:
			lastStatus = currentStatus;
			currentStatus = WORKING;
			break;
		case 82:
			lastStatus = currentStatus;
			currentStatus = MANUAL;
			OutPWM1(0xFFFF, 1, 0xFFFF, 0, 0, 0);
			while (limitZMax != 0) {
				OutPWM1(0xFFFF, 1, 0, 0, 0, 0);
			}
			while (limitYMax != 0) {
				OutPWM1(0, 1, 0xFFFF, 0, 0, 0);
			}
			OutPWM1(2000, 1, 2000, 0, 0, 0);
			//回发回零
			unsigned short CRCCal;
			EMCSTOPBuffer[0] = 82;
			EMCSTOPBuffer[2] = 0;
			EMCSTOPBuffer[1] = 0;
			EMCSTOPBuffer[3] = 0;
			EMCSTOPBuffer[5] = 0;
			EMCSTOPBuffer[4] = 0;
			EMCSTOPBuffer[6] = 0;
			EMCSTOPBuffer[7] = 0;
			EMCSTOPBuffer[8] = 0;
			EMCSTOPBuffer[9] = 0;
			CRCCal = CRC16(&EMCSTOPBuffer[0], 10);
			EMCSTOPBuffer[10] = (CRCCal & 0xFF00) >> 8;
			EMCSTOPBuffer[11] = (CRCCal & 0xFF);
			HAL_UART_Transmit(&huart2, EMCSTOPBuffer, 12, 0x000F);
			EMCSTOPBuffer[0] = 0;
			break;
		default:
			break;
		}
		CMDBuffer[CMDRunNum][0] = 0;
		CMDBuffer[CMDRunNum][1] = 0;
		CMDBuffer[CMDRunNum][2] = 0;
		CMDBuffer[CMDRunNum][3] = 0;
		CMDBuffer[CMDRunNum][4] = 0;
		CMDBuffer[CMDRunNum][5] = 0;
		CMDBuffer[CMDRunNum][6] = 0;
		CMDBuffer[CMDRunNum][7] = 0;
		CMDBuffer[CMDRunNum][8] = 0;
		CMDBuffer[CMDRunNum][9] = 0;
		CMDRunNum++;
		if (CMDRunNum == MAX_CMD_SIZE)
			CMDRunNum = 0;
	}
}
/**
 * 函数功能: Modbus CRC16 校验
 * 输入参数: *puchMsg: 需校验字符串起始地址 | usDataLen: 需校验位数
 * 返 回 值: 0xFFFF: 同时返回高低位校验码
 * 说    明: 无
 */
unsigned short CRC16(uint8_t *puchMsg, unsigned short usDataLen) {
	uint8_t uchCRCHi = 0xFF; /* 高CRC字节初始化 */
	uint8_t uchCRCLo = 0xFF; /* 低CRC 字节初始化 */
	unsigned uIndex; /* CRC循环中的索引 */
	while (usDataLen--) /* 传输消息缓冲区 */
	{
		uIndex = uchCRCHi ^ *puchMsg++; /* 计算CRC */
		uchCRCHi = uchCRCLo ^ auchCRCHi[uIndex];
		uchCRCLo = auchCRCLo[uIndex];
	}
	return (uchCRCHi << 8 | uchCRCLo);
}
/**
 * 函数功能: 串口中断回调函数
 * 输入参数: UartHandle：串口外设设备句柄
 * 返 回 值: 无
 * 说    明: 无
 */
void HAL_UART_RxCpltCallback(UART_HandleTypeDef* uartHandle) {
	unsigned short CRCCal = CRC16(&RxBuffer[0], 10);
	/* 判断CRC校验 */
	if ((RxBuffer[10] == ((CRCCal & 0xFF00) >> 8))
			&& (RxBuffer[11] == (CRCCal & 0xFF))) {
		if (RxBuffer[0] < 90) {
			/* 缓存命令 */
			CMDBuffer[CMDRevNum][0] = RxBuffer[0];

			CMDBuffer[CMDRevNum][1] = RxBuffer[1];
			CMDBuffer[CMDRevNum][2] = RxBuffer[2];
			CMDBuffer[CMDRevNum][3] = RxBuffer[3];

			CMDBuffer[CMDRevNum][4] = RxBuffer[4];
			CMDBuffer[CMDRevNum][5] = RxBuffer[5];
			CMDBuffer[CMDRevNum][6] = RxBuffer[6];

			CMDBuffer[CMDRevNum][7] = RxBuffer[7];
			CMDBuffer[CMDRevNum][8] = RxBuffer[8];
			CMDBuffer[CMDRevNum][9] = RxBuffer[9];

			CMDRevNum++;
		}
		/* 命令缓存达到最大值, 重新循环 */
		if (CMDRevNum == MAX_CMD_SIZE)
			CMDRevNum = 0;
		/* 处理特殊命令: 停止 */
		if (RxBuffer[0] == 99) {
			lastStatus = currentStatus;
			currentStatus = EMCSTOP;
			EMCSTOPBuffer[0] = 99;
		}
		//测试用
		//HAL_UART_Transmit(&huart2, RxBuffer, 12, 0x000F);

		/* 清除接收缓存 */
		memset(RxBuffer, 0, 12);
	}
	/* 重启串口接收缓存 */
	HAL_UART_Receive_IT(&huart2, RxBuffer, 12);
}
/* USER CODE END 4 */

void _Error_Handler(char *file, int line) {
	while (1) {
	}
}

/************************ (C) COPYRIGHT STMicroelectronics *****END OF FILE****/
